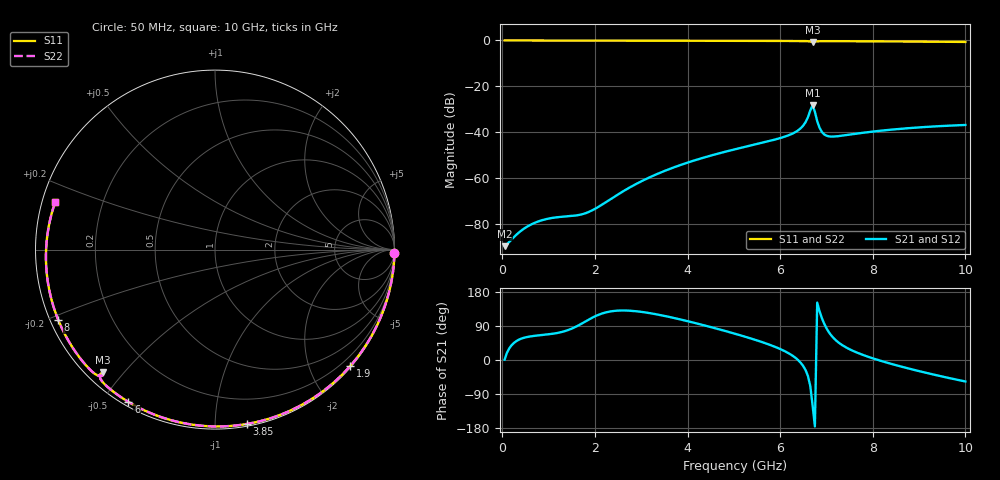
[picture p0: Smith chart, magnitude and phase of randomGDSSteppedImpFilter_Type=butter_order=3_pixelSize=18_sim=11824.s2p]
! freq	dB(S11)	phase(S11)	dB(S12)	phase(S12)
!  dB(S21)	phase(S21)	dB(S22)	phase(S22)
!S-par simulation data
#  GHz  S  DB  R 50
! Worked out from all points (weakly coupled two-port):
!   200 points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, 50 MHz to 10 GHz, reference 50 ohm
!   highest |S21| = -28.29 dB at 6.7 GHz (marker M1); lowest = -89.8 dB at 50 MHz (marker M2)
!   lowest |S11| = -0.7 dB at 6.7 GHz (marker M3), VSWR 25.72, Z = 2.32 - j22 ohm
!   |S11| at or under -10 dB: nowhere
!   |S22| runs from -0.7 to 0.0 dB; largest |S21 - S12| = 0
!   S11 on the Smith chart (normalised r, x): 50 MHz: open; 1.9 GHz: 0.02, -2.70; 3.85 GHz: 0.02, -1.20; 6 GHz: 0.02, -0.58; 8 GHz: 0.02, -0.21; 10 GHz: 0.04, +0.15
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0.05  -0.00 -1.1  -89.76 1.0  -89.76 1.0  -0.00 -1.1
0.65  -0.01 -14.1  -80.02 63.0  -80.02 63.0  -0.01 -14.1
1  -0.03 -21.6  -77.72 67.8  -77.72 67.8  -0.03 -21.6
1.75  -0.05 -37.5  -75.68 98.5  -75.68 98.5  -0.05 -37.5
1.9  -0.05 -40.6  -74.53 108.9  -74.53 108.9  -0.05 -40.6
2.8  -0.08 -59.0  -63.60 129.7  -63.60 129.7  -0.08 -59.0
3.4  -0.09 -70.9  -57.79 118.9  -57.79 118.9  -0.09 -70.9
3.85  -0.11 -79.6  -54.33 106.9  -54.33 106.9  -0.11 -79.6
5.05  -0.16 -102.2  -47.36 68.4  -47.36 68.4  -0.16 -102.2
6  -0.21 -119.6  -42.60 29.0  -42.60 29.0  -0.21 -119.6
6.25  -0.23 -124.3  -40.80 12.8  -40.80 12.8  -0.23 -124.3
6.45  -0.25 -128.1  -38.19 -8.2  -38.19 -8.2  -0.25 -128.1
6.55  -0.28 -130.2  -35.60 -26.9  -35.60 -26.9  -0.28 -130.2
6.7  -0.68 -132.5  -28.29 -119.0  -28.29 -119.0  -0.67 -132.5
6.85  -0.33 -133.9  -38.06 128.9  -38.06 128.9  -0.33 -133.9
6.9  -0.31 -135.0  -39.89 110.9  -39.89 110.9  -0.31 -135.0
7  -0.30 -137.0  -41.56 83.8  -41.56 83.8  -0.30 -137.0
7.2  -0.31 -140.8  -41.87 52.4  -41.87 52.4  -0.31 -140.9
8  -0.38 -155.8  -39.76 4.4  -39.76 4.4  -0.38 -155.8
8.35  -0.42 -162.5  -39.01 -8.5  -39.01 -8.5  -0.42 -162.5
9.2  -0.52 -179.4  -37.67 -35.2  -37.67 -35.2  -0.52 -179.4
10  -0.64 163.4  -36.87 -56.7  -36.87 -56.7  -0.64 163.3
